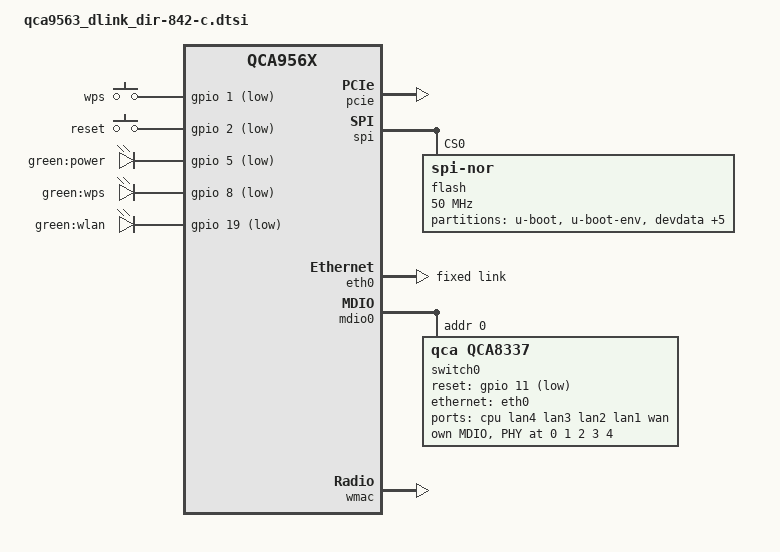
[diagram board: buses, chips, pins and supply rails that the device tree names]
// SPDX-License-Identifier: GPL-2.0-or-later OR MIT

#include "qca956x.dtsi"

#include <dt-bindings/gpio/gpio.h>
#include <dt-bindings/input/input.h>

/ {
	aliases {
		led-boot = &led_power;
		led-failsafe = &led_power;
		led-running = &led_power;
		led-upgrade = &led_power;
	};

	keys {
		compatible = "gpio-keys";

		wps {
			linux,code = <KEY_WPS_BUTTON>;
			gpios = <&gpio 1 GPIO_ACTIVE_LOW>;
			debounce-interval = <60>;
		};

		reset {
			linux,code = <KEY_RESTART>;
			gpios = <&gpio 2 GPIO_ACTIVE_LOW>;
			debounce-interval = <60>;
		};
	};

	leds {
		compatible = "gpio-leds";

		led_power: power {
			label = "green:power";
			gpios = <&gpio 5 GPIO_ACTIVE_LOW>;
		};

		wps {
			label = "green:wps";
			gpios = <&gpio 8 GPIO_ACTIVE_LOW>;
		};

		wlan {
			label = "green:wlan";
			gpios = <&gpio 19 GPIO_ACTIVE_LOW>;
			linux,default-trigger = "phy0tpt";
		};
	};
};

&pcie {
	status = "okay";
};

&spi {
	status = "okay";

	flash@0 {
		compatible = "jedec,spi-nor";
		reg = <0>;
		spi-max-frequency = <50000000>;

		partitions {
			compatible = "fixed-partitions";
			#address-cells = <1>;
			#size-cells = <1>;

			partition@0 {
				label = "u-boot";
				reg = <0x000000 0x40000>;
				read-only;
			};

			partition@40000 {
				label = "u-boot-env";
				reg = <0x040000 0x10000>;
				read-only;
			};

			partition@50000 {
				label = "devdata";
				reg = <0x050000 0x10000>;
				read-only;
			};

			partition@60000 {
				label = "devconf";
				reg = <0x060000 0x10000>;
				read-only;
			};

			partition@70000 {
				label = "misc";
				reg = <0x070000 0x10000>;
				read-only;
			};

			partition@80000 {
				compatible = "seama";
				label = "firmware";
				reg = <0x080000 0xf50000>;
			};

			art: partition@fd0000 {
				label = "art";
				reg = <0xfd0000 0x010000>;
				read-only;
			};

			partition@fe0000 {
				label = "reserved";
				reg = <0xfe0000 0x20000>;
				read-only;
			};
		};
	};
};

&eth0 {
	status = "okay";

	pll-data = <0x03000101 0x00000101 0x00001919>;

	fixed-link {
		speed = <1000>;
		full-duplex;
	};
};

&eth1 {
	status = "disabled";
};

&mdio0 {
	status = "okay";

	switch0@0 {
		compatible = "qca,qca8337";
		#address-cells = <1>;
		#size-cells = <0>;

		reg = <0>;
		reset-gpios = <&gpio 11 GPIO_ACTIVE_LOW>;
		qca,ignore-power-on-sel;
		qca,led-open-drain;

		ports {
			#address-cells = <1>;
			#size-cells = <0>;

			port@0 {
				reg = <0>;
				label = "cpu";
				ethernet = <&eth0>;
				phy-mode = "sgmii";
				qca,sgmii-enable-pll;
				qca,sgmii-rxclk-falling-edge;

				fixed-link {
					speed = <1000>;
					full-duplex;
				};
			};

			port@1 {
				reg = <1>;
				label = "lan4";
				phy-mode = "internal";
				phy-handle = <&phy_port1>;
			};

			port@2 {
				reg = <2>;
				label = "lan3";
				phy-mode = "internal";
				phy-handle = <&phy_port2>;
			};

			port@3 {
				reg = <3>;
				label = "lan2";
				phy-mode = "internal";
				phy-handle = <&phy_port3>;
			};

			port@4 {
				reg = <4>;
				label = "lan1";
				phy-mode = "internal";
				phy-handle = <&phy_port4>;
			};

			port@5 {
				reg = <5>;
				label = "wan";
				phy-mode = "internal";
				phy-handle = <&phy_port5>;
			};
		};

		mdio {
			#address-cells = <1>;
			#size-cells = <0>;

			phy_port1: phy@0 {
				reg = <0>;
			};

			phy_port2: phy@1 {
				reg = <1>;
			};

			phy_port3: phy@2 {
				reg = <2>;
			};

			phy_port4: phy@3 {
				reg = <3>;
			};

			phy_port5: phy@4 {
				reg = <4>;
			};
		};
	};
};

&mdio1 {
	status = "disabled";
};

&wmac {
	status = "okay";

	qca,no-eeprom;
};
